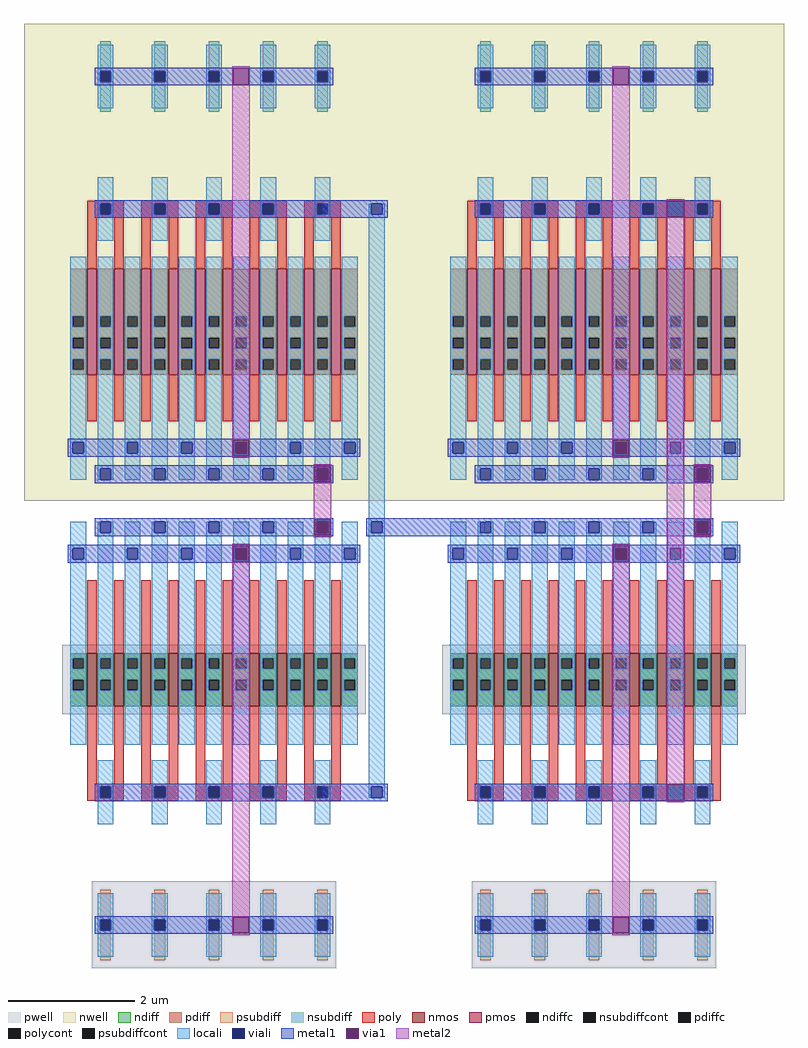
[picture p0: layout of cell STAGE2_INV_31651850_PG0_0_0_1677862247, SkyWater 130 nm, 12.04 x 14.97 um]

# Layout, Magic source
magic
tech sky130A
magscale 1 2
<< locali >>
rect 1093 2419 1101 2453
rect 1135 2419 1143 2453
rect 1093 1445 1143 2419
rect 1093 1411 1101 1445
rect 1135 1411 1143 1445
rect 1093 605 1143 1411
rect 1093 571 1101 605
rect 1135 571 1143 605
<< viali >>
rect 1101 2419 1135 2453
rect 1101 1411 1135 1445
rect 1101 571 1135 605
<< metal1 >>
rect 946 2453 1152 2464
rect 946 2419 1101 2453
rect 1135 2419 1152 2453
rect 946 2408 1152 2419
rect 2032 2462 2096 2464
rect 2032 2410 2038 2462
rect 2090 2410 2096 2462
rect 2032 2408 2096 2410
rect 914 1622 978 1624
rect 914 1570 920 1622
rect 972 1570 978 1622
rect 914 1568 978 1570
rect 2118 1622 2182 1624
rect 2118 1570 2124 1622
rect 2176 1570 2182 1622
rect 2118 1568 2182 1570
rect 914 1454 978 1456
rect 914 1402 920 1454
rect 972 1402 978 1454
rect 914 1400 978 1402
rect 1084 1445 1462 1456
rect 1084 1411 1101 1445
rect 1135 1411 1462 1445
rect 1084 1400 1462 1411
rect 2118 1454 2182 1456
rect 2118 1402 2124 1454
rect 2176 1402 2182 1454
rect 2118 1400 2182 1402
rect 946 605 1152 616
rect 946 571 1101 605
rect 1135 571 1152 605
rect 946 560 1152 571
rect 2032 614 2096 616
rect 2032 562 2038 614
rect 2090 562 2096 614
rect 2032 560 2096 562
<< via1 >>
rect 2038 2410 2090 2462
rect 920 1570 972 1622
rect 2124 1570 2176 1622
rect 920 1402 972 1454
rect 2124 1402 2176 1454
rect 2038 562 2090 614
<< metal2 >>
rect 2036 2462 2092 2468
rect 2036 2410 2038 2462
rect 2090 2410 2092 2462
rect 918 1622 974 1628
rect 918 1570 920 1622
rect 972 1570 974 1622
rect 918 1454 974 1570
rect 918 1402 920 1454
rect 972 1402 974 1454
rect 918 1396 974 1402
rect 2036 614 2092 2410
rect 2122 1622 2178 1628
rect 2122 1570 2124 1622
rect 2176 1570 2178 1622
rect 2122 1454 2178 1570
rect 2122 1402 2124 1454
rect 2176 1402 2178 1454
rect 2122 1396 2178 1402
rect 2036 562 2038 614
rect 2090 562 2092 614
rect 2036 556 2092 562
use NMOS_S_4459928_X5_Y1_1677862245_1677862247  NMOS_S_4459928_X5_Y1_1677862245_1677862247_0
transform 1 0 0 0 -1 1512
box 121 56 1083 1482
use NMOS_S_4459928_X5_Y1_1677862245_1677862247  NMOS_S_4459928_X5_Y1_1677862245_1677862247_1
transform 1 0 1204 0 -1 1512
box 121 56 1083 1482
use PMOS_S_62253992_X5_Y1_1677862246_1677862247  PMOS_S_62253992_X5_Y1_1677862246_1677862247_0
transform 1 0 0 0 1 1512
box 0 0 1204 1512
use PMOS_S_62253992_X5_Y1_1677862246_1677862247  PMOS_S_62253992_X5_Y1_1677862246_1677862247_1
transform 1 0 1204 0 1 1512
box 0 0 1204 1512
<< end >>

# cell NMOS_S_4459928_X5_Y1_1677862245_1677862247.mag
magic
tech sky130A
magscale 1 2
<< pwell >>
rect 215 1206 989 1482
rect 121 457 1083 677
<< nmos >>
rect 200 483 230 651
rect 286 483 316 651
rect 372 483 402 651
rect 458 483 488 651
rect 544 483 574 651
rect 630 483 660 651
rect 716 483 746 651
rect 802 483 832 651
rect 888 483 918 651
rect 974 483 1004 651
<< ndiff >>
rect 147 601 200 651
rect 147 567 155 601
rect 189 567 200 601
rect 147 533 200 567
rect 147 499 155 533
rect 189 499 200 533
rect 147 483 200 499
rect 230 601 286 651
rect 230 567 241 601
rect 275 567 286 601
rect 230 533 286 567
rect 230 499 241 533
rect 275 499 286 533
rect 230 483 286 499
rect 316 601 372 651
rect 316 567 327 601
rect 361 567 372 601
rect 316 533 372 567
rect 316 499 327 533
rect 361 499 372 533
rect 316 483 372 499
rect 402 601 458 651
rect 402 567 413 601
rect 447 567 458 601
rect 402 533 458 567
rect 402 499 413 533
rect 447 499 458 533
rect 402 483 458 499
rect 488 601 544 651
rect 488 567 499 601
rect 533 567 544 601
rect 488 533 544 567
rect 488 499 499 533
rect 533 499 544 533
rect 488 483 544 499
rect 574 601 630 651
rect 574 567 585 601
rect 619 567 630 601
rect 574 533 630 567
rect 574 499 585 533
rect 619 499 630 533
rect 574 483 630 499
rect 660 601 716 651
rect 660 567 671 601
rect 705 567 716 601
rect 660 533 716 567
rect 660 499 671 533
rect 705 499 716 533
rect 660 483 716 499
rect 746 601 802 651
rect 746 567 757 601
rect 791 567 802 601
rect 746 533 802 567
rect 746 499 757 533
rect 791 499 802 533
rect 746 483 802 499
rect 832 601 888 651
rect 832 567 843 601
rect 877 567 888 601
rect 832 533 888 567
rect 832 499 843 533
rect 877 499 888 533
rect 832 483 888 499
rect 918 601 974 651
rect 918 567 929 601
rect 963 567 974 601
rect 918 533 974 567
rect 918 499 929 533
rect 963 499 974 533
rect 918 483 974 499
rect 1004 601 1057 651
rect 1004 567 1015 601
rect 1049 567 1057 601
rect 1004 533 1057 567
rect 1004 499 1015 533
rect 1049 499 1057 533
rect 1004 483 1057 499
<< ndiffc >>
rect 155 567 189 601
rect 155 499 189 533
rect 241 567 275 601
rect 241 499 275 533
rect 327 567 361 601
rect 327 499 361 533
rect 413 567 447 601
rect 413 499 447 533
rect 499 567 533 601
rect 499 499 533 533
rect 585 567 619 601
rect 585 499 619 533
rect 671 567 705 601
rect 671 499 705 533
rect 757 567 791 601
rect 757 499 791 533
rect 843 567 877 601
rect 843 499 877 533
rect 929 567 963 601
rect 929 499 963 533
rect 1015 567 1049 601
rect 1015 499 1049 533
<< psubdiff >>
rect 241 1361 275 1456
rect 241 1232 275 1327
rect 413 1361 447 1456
rect 413 1232 447 1327
rect 585 1361 619 1456
rect 585 1232 619 1327
rect 757 1361 791 1456
rect 757 1232 791 1327
rect 929 1361 963 1456
rect 929 1232 963 1327
<< psubdiffcont >>
rect 241 1327 275 1361
rect 413 1327 447 1361
rect 585 1327 619 1361
rect 757 1327 791 1361
rect 929 1327 963 1361
<< poly >>
rect 200 941 316 951
rect 200 907 241 941
rect 275 907 316 941
rect 200 897 316 907
rect 200 651 230 897
rect 286 651 316 897
rect 372 941 488 951
rect 372 907 413 941
rect 447 907 488 941
rect 372 897 488 907
rect 372 651 402 897
rect 458 651 488 897
rect 544 941 660 951
rect 544 907 585 941
rect 619 907 660 941
rect 544 897 660 907
rect 544 651 574 897
rect 630 651 660 897
rect 716 941 832 951
rect 716 907 757 941
rect 791 907 832 941
rect 716 897 832 907
rect 716 651 746 897
rect 802 651 832 897
rect 888 941 1004 951
rect 888 907 929 941
rect 963 907 1004 941
rect 888 897 1004 907
rect 888 651 918 897
rect 974 651 1004 897
rect 200 252 230 483
rect 286 252 316 483
rect 372 252 402 483
rect 458 252 488 483
rect 544 252 574 483
rect 630 252 660 483
rect 716 252 746 483
rect 802 252 832 483
rect 888 252 918 483
rect 974 252 1004 483
<< polycont >>
rect 241 907 275 941
rect 413 907 447 941
rect 585 907 619 941
rect 757 907 791 941
rect 929 907 963 941
<< locali >>
rect 233 1361 283 1445
rect 233 1327 241 1361
rect 275 1327 283 1361
rect 233 1243 283 1327
rect 405 1361 455 1445
rect 405 1327 413 1361
rect 447 1327 455 1361
rect 405 1243 455 1327
rect 577 1361 627 1445
rect 577 1327 585 1361
rect 619 1327 627 1361
rect 577 1243 627 1327
rect 749 1361 799 1445
rect 749 1327 757 1361
rect 791 1327 799 1361
rect 749 1243 799 1327
rect 921 1361 971 1445
rect 921 1327 929 1361
rect 963 1327 971 1361
rect 921 1243 971 1327
rect 233 941 283 1025
rect 233 907 241 941
rect 275 907 283 941
rect 233 823 283 907
rect 405 941 455 1025
rect 405 907 413 941
rect 447 907 455 941
rect 405 823 455 907
rect 577 941 627 1025
rect 577 907 585 941
rect 619 907 627 941
rect 577 823 627 907
rect 749 941 799 1025
rect 749 907 757 941
rect 791 907 799 941
rect 749 823 799 907
rect 921 941 971 1025
rect 921 907 929 941
rect 963 907 971 941
rect 921 823 971 907
rect 147 601 197 773
rect 147 567 155 601
rect 189 567 197 601
rect 147 533 197 567
rect 147 499 155 533
rect 189 499 197 533
rect 147 185 197 499
rect 147 151 155 185
rect 189 151 197 185
rect 147 67 197 151
rect 233 601 283 773
rect 233 567 241 601
rect 275 567 283 601
rect 233 533 283 567
rect 233 499 241 533
rect 275 499 283 533
rect 233 101 283 499
rect 233 67 241 101
rect 275 67 283 101
rect 319 601 369 773
rect 319 567 327 601
rect 361 567 369 601
rect 319 533 369 567
rect 319 499 327 533
rect 361 499 369 533
rect 319 185 369 499
rect 319 151 327 185
rect 361 151 369 185
rect 319 67 369 151
rect 405 601 455 773
rect 405 567 413 601
rect 447 567 455 601
rect 405 533 455 567
rect 405 499 413 533
rect 447 499 455 533
rect 405 101 455 499
rect 405 67 413 101
rect 447 67 455 101
rect 491 601 541 773
rect 491 567 499 601
rect 533 567 541 601
rect 491 533 541 567
rect 491 499 499 533
rect 533 499 541 533
rect 491 185 541 499
rect 491 151 499 185
rect 533 151 541 185
rect 491 67 541 151
rect 577 601 627 773
rect 577 567 585 601
rect 619 567 627 601
rect 577 533 627 567
rect 577 499 585 533
rect 619 499 627 533
rect 577 101 627 499
rect 577 67 585 101
rect 619 67 627 101
rect 663 601 713 773
rect 663 567 671 601
rect 705 567 713 601
rect 663 533 713 567
rect 663 499 671 533
rect 705 499 713 533
rect 663 185 713 499
rect 663 151 671 185
rect 705 151 713 185
rect 663 67 713 151
rect 749 601 799 773
rect 749 567 757 601
rect 791 567 799 601
rect 749 533 799 567
rect 749 499 757 533
rect 791 499 799 533
rect 749 101 799 499
rect 749 67 757 101
rect 791 67 799 101
rect 835 601 885 773
rect 835 567 843 601
rect 877 567 885 601
rect 835 533 885 567
rect 835 499 843 533
rect 877 499 885 533
rect 835 185 885 499
rect 835 151 843 185
rect 877 151 885 185
rect 835 67 885 151
rect 921 601 971 773
rect 921 567 929 601
rect 963 567 971 601
rect 921 533 971 567
rect 921 499 929 533
rect 963 499 971 533
rect 921 101 971 499
rect 921 67 929 101
rect 963 67 971 101
rect 1007 601 1057 773
rect 1007 567 1015 601
rect 1049 567 1057 601
rect 1007 533 1057 567
rect 1007 499 1015 533
rect 1049 499 1057 533
rect 1007 185 1057 499
rect 1007 151 1015 185
rect 1049 151 1057 185
rect 1007 67 1057 151
<< viali >>
rect 241 1327 275 1361
rect 413 1327 447 1361
rect 585 1327 619 1361
rect 757 1327 791 1361
rect 929 1327 963 1361
rect 241 907 275 941
rect 413 907 447 941
rect 585 907 619 941
rect 757 907 791 941
rect 929 907 963 941
rect 155 151 189 185
rect 241 67 275 101
rect 327 151 361 185
rect 413 67 447 101
rect 499 151 533 185
rect 585 67 619 101
rect 671 151 705 185
rect 757 67 791 101
rect 843 151 877 185
rect 929 67 963 101
rect 1015 151 1049 185
<< metal1 >>
rect 224 1370 980 1372
rect 224 1361 662 1370
rect 224 1327 241 1361
rect 275 1327 413 1361
rect 447 1327 585 1361
rect 619 1327 662 1361
rect 224 1318 662 1327
rect 714 1361 980 1370
rect 714 1327 757 1361
rect 791 1327 929 1361
rect 963 1327 980 1361
rect 714 1318 980 1327
rect 224 1316 980 1318
rect 224 941 980 952
rect 224 907 241 941
rect 275 907 413 941
rect 447 907 585 941
rect 619 907 757 941
rect 791 907 929 941
rect 963 907 980 941
rect 224 896 980 907
rect 138 194 1066 196
rect 138 185 662 194
rect 714 185 1066 194
rect 138 151 155 185
rect 189 151 327 185
rect 361 151 499 185
rect 533 151 662 185
rect 714 151 843 185
rect 877 151 1015 185
rect 1049 151 1066 185
rect 138 142 662 151
rect 714 142 1066 151
rect 138 140 1066 142
rect 224 101 980 112
rect 224 67 241 101
rect 275 67 413 101
rect 447 67 585 101
rect 619 67 757 101
rect 791 67 929 101
rect 963 67 980 101
rect 224 56 980 67
<< via1 >>
rect 662 1318 714 1370
rect 662 185 714 194
rect 662 151 671 185
rect 671 151 705 185
rect 705 151 714 185
rect 662 142 714 151
<< metal2 >>
rect 660 1370 716 1376
rect 660 1318 662 1370
rect 714 1318 716 1370
rect 660 194 716 1318
rect 660 142 662 194
rect 714 142 716 194
rect 660 136 716 142
<< end >>

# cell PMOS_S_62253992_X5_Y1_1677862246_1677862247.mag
magic
tech sky130A
magscale 1 2
<< nwell >>
rect 0 0 1204 1512
<< pmos >>
rect 200 399 230 735
rect 286 399 316 735
rect 372 399 402 735
rect 458 399 488 735
rect 544 399 574 735
rect 630 399 660 735
rect 716 399 746 735
rect 802 399 832 735
rect 888 399 918 735
rect 974 399 1004 735
<< pdiff >>
rect 147 585 200 735
rect 147 551 155 585
rect 189 551 200 585
rect 147 517 200 551
rect 147 483 155 517
rect 189 483 200 517
rect 147 449 200 483
rect 147 415 155 449
rect 189 415 200 449
rect 147 399 200 415
rect 230 585 286 735
rect 230 551 241 585
rect 275 551 286 585
rect 230 517 286 551
rect 230 483 241 517
rect 275 483 286 517
rect 230 449 286 483
rect 230 415 241 449
rect 275 415 286 449
rect 230 399 286 415
rect 316 585 372 735
rect 316 551 327 585
rect 361 551 372 585
rect 316 517 372 551
rect 316 483 327 517
rect 361 483 372 517
rect 316 449 372 483
rect 316 415 327 449
rect 361 415 372 449
rect 316 399 372 415
rect 402 585 458 735
rect 402 551 413 585
rect 447 551 458 585
rect 402 517 458 551
rect 402 483 413 517
rect 447 483 458 517
rect 402 449 458 483
rect 402 415 413 449
rect 447 415 458 449
rect 402 399 458 415
rect 488 585 544 735
rect 488 551 499 585
rect 533 551 544 585
rect 488 517 544 551
rect 488 483 499 517
rect 533 483 544 517
rect 488 449 544 483
rect 488 415 499 449
rect 533 415 544 449
rect 488 399 544 415
rect 574 585 630 735
rect 574 551 585 585
rect 619 551 630 585
rect 574 517 630 551
rect 574 483 585 517
rect 619 483 630 517
rect 574 449 630 483
rect 574 415 585 449
rect 619 415 630 449
rect 574 399 630 415
rect 660 585 716 735
rect 660 551 671 585
rect 705 551 716 585
rect 660 517 716 551
rect 660 483 671 517
rect 705 483 716 517
rect 660 449 716 483
rect 660 415 671 449
rect 705 415 716 449
rect 660 399 716 415
rect 746 585 802 735
rect 746 551 757 585
rect 791 551 802 585
rect 746 517 802 551
rect 746 483 757 517
rect 791 483 802 517
rect 746 449 802 483
rect 746 415 757 449
rect 791 415 802 449
rect 746 399 802 415
rect 832 585 888 735
rect 832 551 843 585
rect 877 551 888 585
rect 832 517 888 551
rect 832 483 843 517
rect 877 483 888 517
rect 832 449 888 483
rect 832 415 843 449
rect 877 415 888 449
rect 832 399 888 415
rect 918 585 974 735
rect 918 551 929 585
rect 963 551 974 585
rect 918 517 974 551
rect 918 483 929 517
rect 963 483 974 517
rect 918 449 974 483
rect 918 415 929 449
rect 963 415 974 449
rect 918 399 974 415
rect 1004 585 1057 735
rect 1004 551 1015 585
rect 1049 551 1057 585
rect 1004 517 1057 551
rect 1004 483 1015 517
rect 1049 483 1057 517
rect 1004 449 1057 483
rect 1004 415 1015 449
rect 1049 415 1057 449
rect 1004 399 1057 415
<< pdiffc >>
rect 155 551 189 585
rect 155 483 189 517
rect 155 415 189 449
rect 241 551 275 585
rect 241 483 275 517
rect 241 415 275 449
rect 327 551 361 585
rect 327 483 361 517
rect 327 415 361 449
rect 413 551 447 585
rect 413 483 447 517
rect 413 415 447 449
rect 499 551 533 585
rect 499 483 533 517
rect 499 415 533 449
rect 585 551 619 585
rect 585 483 619 517
rect 585 415 619 449
rect 671 551 705 585
rect 671 483 705 517
rect 671 415 705 449
rect 757 551 791 585
rect 757 483 791 517
rect 757 415 791 449
rect 843 551 877 585
rect 843 483 877 517
rect 843 415 877 449
rect 929 551 963 585
rect 929 483 963 517
rect 929 415 963 449
rect 1015 551 1049 585
rect 1015 483 1049 517
rect 1015 415 1049 449
<< nsubdiff >>
rect 241 1361 275 1456
rect 241 1232 275 1327
rect 413 1361 447 1456
rect 413 1232 447 1327
rect 585 1361 619 1456
rect 585 1232 619 1327
rect 757 1361 791 1456
rect 757 1232 791 1327
rect 929 1361 963 1456
rect 929 1232 963 1327
<< nsubdiffcont >>
rect 241 1327 275 1361
rect 413 1327 447 1361
rect 585 1327 619 1361
rect 757 1327 791 1361
rect 929 1327 963 1361
<< poly >>
rect 200 941 316 951
rect 200 907 241 941
rect 275 907 316 941
rect 200 897 316 907
rect 200 735 230 897
rect 286 735 316 897
rect 372 941 488 951
rect 372 907 413 941
rect 447 907 488 941
rect 372 897 488 907
rect 372 735 402 897
rect 458 735 488 897
rect 544 941 660 951
rect 544 907 585 941
rect 619 907 660 941
rect 544 897 660 907
rect 544 735 574 897
rect 630 735 660 897
rect 716 941 832 951
rect 716 907 757 941
rect 791 907 832 941
rect 716 897 832 907
rect 716 735 746 897
rect 802 735 832 897
rect 888 941 1004 951
rect 888 907 929 941
rect 963 907 1004 941
rect 888 897 1004 907
rect 888 735 918 897
rect 974 735 1004 897
rect 200 252 230 399
rect 286 252 316 399
rect 372 252 402 399
rect 458 252 488 399
rect 544 252 574 399
rect 630 252 660 399
rect 716 252 746 399
rect 802 252 832 399
rect 888 252 918 399
rect 974 252 1004 399
<< polycont >>
rect 241 907 275 941
rect 413 907 447 941
rect 585 907 619 941
rect 757 907 791 941
rect 929 907 963 941
<< locali >>
rect 233 1361 283 1445
rect 233 1327 241 1361
rect 275 1327 283 1361
rect 233 1243 283 1327
rect 405 1361 455 1445
rect 405 1327 413 1361
rect 447 1327 455 1361
rect 405 1243 455 1327
rect 577 1361 627 1445
rect 577 1327 585 1361
rect 619 1327 627 1361
rect 577 1243 627 1327
rect 749 1361 799 1445
rect 749 1327 757 1361
rect 791 1327 799 1361
rect 749 1243 799 1327
rect 921 1361 971 1445
rect 921 1327 929 1361
rect 963 1327 971 1361
rect 921 1243 971 1327
rect 233 941 283 1025
rect 233 907 241 941
rect 275 907 283 941
rect 233 823 283 907
rect 405 941 455 1025
rect 405 907 413 941
rect 447 907 455 941
rect 405 823 455 907
rect 577 941 627 1025
rect 577 907 585 941
rect 619 907 627 941
rect 577 823 627 907
rect 749 941 799 1025
rect 749 907 757 941
rect 791 907 799 941
rect 749 823 799 907
rect 921 941 971 1025
rect 921 907 929 941
rect 963 907 971 941
rect 921 823 971 907
rect 147 585 197 773
rect 147 551 155 585
rect 189 551 197 585
rect 147 517 197 551
rect 147 483 155 517
rect 189 483 197 517
rect 147 449 197 483
rect 147 415 155 449
rect 189 415 197 449
rect 147 185 197 415
rect 147 151 155 185
rect 189 151 197 185
rect 147 67 197 151
rect 233 585 283 773
rect 233 551 241 585
rect 275 551 283 585
rect 233 517 283 551
rect 233 483 241 517
rect 275 483 283 517
rect 233 449 283 483
rect 233 415 241 449
rect 275 415 283 449
rect 233 101 283 415
rect 233 67 241 101
rect 275 67 283 101
rect 319 585 369 773
rect 319 551 327 585
rect 361 551 369 585
rect 319 517 369 551
rect 319 483 327 517
rect 361 483 369 517
rect 319 449 369 483
rect 319 415 327 449
rect 361 415 369 449
rect 319 185 369 415
rect 319 151 327 185
rect 361 151 369 185
rect 319 67 369 151
rect 405 585 455 773
rect 405 551 413 585
rect 447 551 455 585
rect 405 517 455 551
rect 405 483 413 517
rect 447 483 455 517
rect 405 449 455 483
rect 405 415 413 449
rect 447 415 455 449
rect 405 101 455 415
rect 405 67 413 101
rect 447 67 455 101
rect 491 585 541 773
rect 491 551 499 585
rect 533 551 541 585
rect 491 517 541 551
rect 491 483 499 517
rect 533 483 541 517
rect 491 449 541 483
rect 491 415 499 449
rect 533 415 541 449
rect 491 185 541 415
rect 491 151 499 185
rect 533 151 541 185
rect 491 67 541 151
rect 577 585 627 773
rect 577 551 585 585
rect 619 551 627 585
rect 577 517 627 551
rect 577 483 585 517
rect 619 483 627 517
rect 577 449 627 483
rect 577 415 585 449
rect 619 415 627 449
rect 577 101 627 415
rect 577 67 585 101
rect 619 67 627 101
rect 663 585 713 773
rect 663 551 671 585
rect 705 551 713 585
rect 663 517 713 551
rect 663 483 671 517
rect 705 483 713 517
rect 663 449 713 483
rect 663 415 671 449
rect 705 415 713 449
rect 663 185 713 415
rect 663 151 671 185
rect 705 151 713 185
rect 663 67 713 151
rect 749 585 799 773
rect 749 551 757 585
rect 791 551 799 585
rect 749 517 799 551
rect 749 483 757 517
rect 791 483 799 517
rect 749 449 799 483
rect 749 415 757 449
rect 791 415 799 449
rect 749 101 799 415
rect 749 67 757 101
rect 791 67 799 101
rect 835 585 885 773
rect 835 551 843 585
rect 877 551 885 585
rect 835 517 885 551
rect 835 483 843 517
rect 877 483 885 517
rect 835 449 885 483
rect 835 415 843 449
rect 877 415 885 449
rect 835 185 885 415
rect 835 151 843 185
rect 877 151 885 185
rect 835 67 885 151
rect 921 585 971 773
rect 921 551 929 585
rect 963 551 971 585
rect 921 517 971 551
rect 921 483 929 517
rect 963 483 971 517
rect 921 449 971 483
rect 921 415 929 449
rect 963 415 971 449
rect 921 101 971 415
rect 921 67 929 101
rect 963 67 971 101
rect 1007 585 1057 773
rect 1007 551 1015 585
rect 1049 551 1057 585
rect 1007 517 1057 551
rect 1007 483 1015 517
rect 1049 483 1057 517
rect 1007 449 1057 483
rect 1007 415 1015 449
rect 1049 415 1057 449
rect 1007 185 1057 415
rect 1007 151 1015 185
rect 1049 151 1057 185
rect 1007 67 1057 151
<< viali >>
rect 241 1327 275 1361
rect 413 1327 447 1361
rect 585 1327 619 1361
rect 757 1327 791 1361
rect 929 1327 963 1361
rect 241 907 275 941
rect 413 907 447 941
rect 585 907 619 941
rect 757 907 791 941
rect 929 907 963 941
rect 155 151 189 185
rect 241 67 275 101
rect 327 151 361 185
rect 413 67 447 101
rect 499 151 533 185
rect 585 67 619 101
rect 671 151 705 185
rect 757 67 791 101
rect 843 151 877 185
rect 929 67 963 101
rect 1015 151 1049 185
<< metal1 >>
rect 224 1370 980 1372
rect 224 1361 662 1370
rect 224 1327 241 1361
rect 275 1327 413 1361
rect 447 1327 585 1361
rect 619 1327 662 1361
rect 224 1318 662 1327
rect 714 1361 980 1370
rect 714 1327 757 1361
rect 791 1327 929 1361
rect 963 1327 980 1361
rect 714 1318 980 1327
rect 224 1316 980 1318
rect 224 941 980 952
rect 224 907 241 941
rect 275 907 413 941
rect 447 907 585 941
rect 619 907 757 941
rect 791 907 929 941
rect 963 907 980 941
rect 224 896 980 907
rect 138 194 1066 196
rect 138 185 662 194
rect 714 185 1066 194
rect 138 151 155 185
rect 189 151 327 185
rect 361 151 499 185
rect 533 151 662 185
rect 714 151 843 185
rect 877 151 1015 185
rect 1049 151 1066 185
rect 138 142 662 151
rect 714 142 1066 151
rect 138 140 1066 142
rect 224 101 980 112
rect 224 67 241 101
rect 275 67 413 101
rect 447 67 585 101
rect 619 67 757 101
rect 791 67 929 101
rect 963 67 980 101
rect 224 56 980 67
<< via1 >>
rect 662 1318 714 1370
rect 662 185 714 194
rect 662 151 671 185
rect 671 151 705 185
rect 705 151 714 185
rect 662 142 714 151
<< metal2 >>
rect 660 1370 716 1376
rect 660 1318 662 1370
rect 714 1318 716 1370
rect 660 194 716 1318
rect 660 142 662 194
rect 714 142 716 194
rect 660 136 716 142
<< end >>
